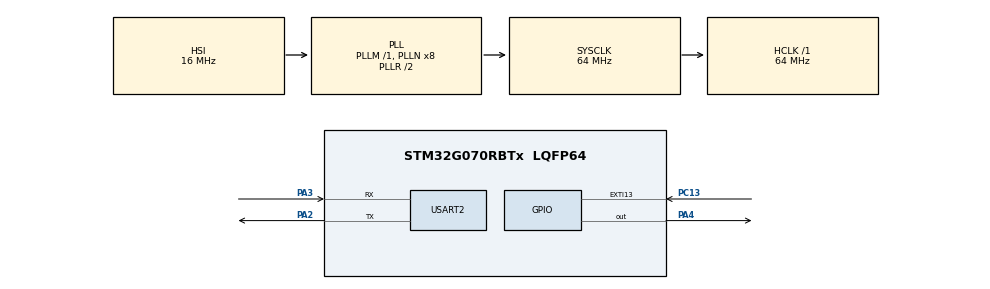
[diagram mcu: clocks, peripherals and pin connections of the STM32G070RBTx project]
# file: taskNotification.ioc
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FREERTOS.Tasks01=defaultTask,0,128,StartDefaultTask,Default,NULL,Dynamic,NULL,NULL;notifyTask,1,128,StartnotifyTask,Default,NULL,Dynamic,NULL,NULL
FREERTOS.configUSE_NEWLIB_REENTRANT=1
Mcu.Family=STM32G0
Mcu.Name=STM32G070RBTx
Mcu.Package=LQFP64
NVIC.EXTI4_15_IRQn=true\:3\:0\:false\:false\:true\:true\:true\:true\:true
NVIC.TIM1_BRK_UP_TRG_COM_IRQn=true\:3\:0\:false\:false\:true\:false\:false\:true\:true
NVIC.TimeBase=TIM1_BRK_UP_TRG_COM_IRQn
NVIC.TimeBaseIP=TIM1
PA13.GPIO_Label=TMS
PA13.Mode=Serial_Wire
PA13.Signal=SYS_SWDIO
PA14-BOOT0.GPIO_Label=TCK
PA14-BOOT0.Mode=Serial_Wire
PA14-BOOT0.Signal=SYS_SWCLK
PA2.GPIO_PuPd=GPIO_PULLUP
PA2.Mode=Asynchronous
PA2.Signal=USART2_TX
PA3.GPIO_PuPd=GPIO_PULLUP
PA3.Mode=Asynchronous
PA3.Signal=USART2_RX
PA4.GPIO_PuPd=GPIO_PULLUP
PA4.Signal=GPIO_Output
PC13.Signal=GPXTI13
PC14-OSC32_IN\ (PC14).Mode=LSE-External-Oscillator
PC14-OSC32_IN\ (PC14).Signal=RCC_OSC32_IN
PC15-OSC32_OUT\ (PC15).Mode=LSE-External-Oscillator
PC15-OSC32_OUT\ (PC15).Signal=RCC_OSC32_OUT
PF0-OSC_IN\ (PF0).GPIO_Label=MCO
PF0-OSC_IN\ (PF0).Mode=HSE-External-Oscillator
PF0-OSC_IN\ (PF0).Signal=RCC_OSC_IN
PF1-OSC_OUT\ (PF1).Mode=HSE-External-Oscillator
PF1-OSC_OUT\ (PF1).Signal=RCC_OSC_OUT
ProjectManager.HeapSize=0x200
ProjectManager.StackSize=0x400
ProjectManager.TargetToolchain=STM32CubeIDE
RCC.ADCFreq_Value=64000000
RCC.AHBFreq_Value=64000000
RCC.CortexFreq_Value=64000000
RCC.EXTERNAL_CLOCK_VALUE=12288000
RCC.HCLKFreq_Value=64000000
RCC.HSE_VALUE=8000000
RCC.HSI_VALUE=16000000
RCC.SYSCLKFreq_VALUE=64000000
RCC.SYSCLKSource=RCC_SYSCLKSOURCE_PLLCLK
RCC.VCOOutputFreq_Value=128000000
USART2.VirtualMode-Asynchronous=VM_ASYNC
USART2.WordLength=WORDLENGTH_8B
VP_FREERTOS_VS_CMSIS_V1.Mode=CMSIS_V1
VP_SYS_VS_DBSignals.Mode=DisableDeadBatterySignals
VP_SYS_VS_tim1.Mode=TIM1
board=NUCLEO-G070RB

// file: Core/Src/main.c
/* USER CODE BEGIN Header */
/**
  ******************************************************************************
  * @file           : main.c
  * @brief          : Main program body
  ******************************************************************************
  * @attention
  *
  * Copyright (c) 2024 STMicroelectronics.
  * All rights reserved.
  *
  * This software is licensed under terms that can be found in the LICENSE file
  * in the root directory of this software component.
  * If no LICENSE file comes with this software, it is provided AS-IS.
  *
  ******************************************************************************
  */
/* USER CODE END Header */
#include "main.h"
#include "cmsis_os.h"

/* USER CODE BEGIN Includes */
#include <stdio.h>

/* USER CODE END Includes */

UART_HandleTypeDef huart2;

osThreadId defaultTaskHandle;
osThreadId notifyTaskHandle;

void SystemClock_Config(void);
static void MX_GPIO_Init(void);
static void MX_USART2_UART_Init(void);
void StartDefaultTask(void const * argument);
void StartnotifyTask(void const * argument);

int main(void)
{

  /* MCU Configuration--------------------------------------------------------*/

  /* Reset of all peripherals, Initializes the Flash interface and the Systick. */
  HAL_Init();

  /* Configure the system clock */
  SystemClock_Config();

  /* Initialize all configured peripherals */
  MX_GPIO_Init();
  MX_USART2_UART_Init();

  /* Create the thread(s) */
  /* definition and creation of defaultTask */
  osThreadDef(defaultTask, StartDefaultTask, osPriorityNormal, 0, 128);
  defaultTaskHandle = osThreadCreate(osThread(defaultTask), NULL);

  /* definition and creation of notifyTask */
  osThreadDef(notifyTask, StartnotifyTask, osPriorityAboveNormal, 0, 128);
  notifyTaskHandle = osThreadCreate(osThread(notifyTask), NULL);

  /* Start scheduler */
  osKernelStart();

  /* We should never get here as control is now taken by the scheduler */

  /* Infinite loop */
  while (1)
  {

  }
}

void SystemClock_Config(void)
{
  RCC_OscInitTypeDef RCC_OscInitStruct = {0};
  RCC_ClkInitTypeDef RCC_ClkInitStruct = {0};

  /** Configure the main internal regulator output voltage
  */
  HAL_PWREx_ControlVoltageScaling(PWR_REGULATOR_VOLTAGE_SCALE1);

  /** Initializes the RCC Oscillators according to the specified parameters
  * in the RCC_OscInitTypeDef structure.
  */
  RCC_OscInitStruct.OscillatorType = RCC_OSCILLATORTYPE_HSI;
  RCC_OscInitStruct.HSIState = RCC_HSI_ON;
  RCC_OscInitStruct.HSIDiv = RCC_HSI_DIV1;
  RCC_OscInitStruct.HSICalibrationValue = RCC_HSICALIBRATION_DEFAULT;
  RCC_OscInitStruct.PLL.PLLState = RCC_PLL_ON;
  RCC_OscInitStruct.PLL.PLLSource = RCC_PLLSOURCE_HSI;
  RCC_OscInitStruct.PLL.PLLM = RCC_PLLM_DIV1;
  RCC_OscInitStruct.PLL.PLLN = 8;
  RCC_OscInitStruct.PLL.PLLP = RCC_PLLP_DIV2;
  RCC_OscInitStruct.PLL.PLLR = RCC_PLLR_DIV2;
  if (HAL_RCC_OscConfig(&RCC_OscInitStruct) != HAL_OK)
  {
    Error_Handler();
  }

  /** Initializes the CPU, AHB and APB buses clocks
  */
  RCC_ClkInitStruct.ClockType = RCC_CLOCKTYPE_HCLK|RCC_CLOCKTYPE_SYSCLK
                              |RCC_CLOCKTYPE_PCLK1;
  RCC_ClkInitStruct.SYSCLKSource = RCC_SYSCLKSOURCE_PLLCLK;
  RCC_ClkInitStruct.AHBCLKDivider = RCC_SYSCLK_DIV1;
  RCC_ClkInitStruct.APB1CLKDivider = RCC_HCLK_DIV1;

  if (HAL_RCC_ClockConfig(&RCC_ClkInitStruct, FLASH_LATENCY_2) != HAL_OK)
  {
    Error_Handler();
  }
}

static void MX_USART2_UART_Init(void)
{

  huart2.Instance = USART2;
  huart2.Init.BaudRate = 115200;
  huart2.Init.WordLength = UART_WORDLENGTH_8B;
  huart2.Init.StopBits = UART_STOPBITS_1;
  huart2.Init.Parity = UART_PARITY_NONE;
  huart2.Init.Mode = UART_MODE_TX_RX;
  huart2.Init.HwFlowCtl = UART_HWCONTROL_NONE;
  huart2.Init.OverSampling = UART_OVERSAMPLING_16;
  huart2.Init.OneBitSampling = UART_ONE_BIT_SAMPLE_DISABLE;
  huart2.Init.ClockPrescaler = UART_PRESCALER_DIV1;
  huart2.AdvancedInit.AdvFeatureInit = UART_ADVFEATURE_NO_INIT;
  if (HAL_UART_Init(&huart2) != HAL_OK)
  {
    Error_Handler();
  }
  if (HAL_UARTEx_SetTxFifoThreshold(&huart2, UART_TXFIFO_THRESHOLD_1_8) != HAL_OK)
  {
    Error_Handler();
  }
  if (HAL_UARTEx_SetRxFifoThreshold(&huart2, UART_RXFIFO_THRESHOLD_1_8) != HAL_OK)
  {
    Error_Handler();
  }
  if (HAL_UARTEx_DisableFifoMode(&huart2) != HAL_OK)
  {
    Error_Handler();
  }

}

static void MX_GPIO_Init(void)
{
  GPIO_InitTypeDef GPIO_InitStruct = {0};

  /* GPIO Ports Clock Enable */
  __HAL_RCC_GPIOC_CLK_ENABLE();
  __HAL_RCC_GPIOF_CLK_ENABLE();
  __HAL_RCC_GPIOA_CLK_ENABLE();

  /*Configure GPIO pin Output Level */
  HAL_GPIO_WritePin(GPIOA, GPIO_PIN_4, GPIO_PIN_RESET);

  /*Configure GPIO pin : PC13 */
  GPIO_InitStruct.Pin = GPIO_PIN_13;
  GPIO_InitStruct.Mode = GPIO_MODE_IT_RISING;
  GPIO_InitStruct.Pull = GPIO_NOPULL;
  HAL_GPIO_Init(GPIOC, &GPIO_InitStruct);

  /*Configure GPIO pin : PA4 */
  GPIO_InitStruct.Pin = GPIO_PIN_4;
  GPIO_InitStruct.Mode = GPIO_MODE_OUTPUT_PP;
  GPIO_InitStruct.Pull = GPIO_PULLUP;
  GPIO_InitStruct.Speed = GPIO_SPEED_FREQ_LOW;
  HAL_GPIO_Init(GPIOA, &GPIO_InitStruct);

  /* EXTI interrupt init*/
  HAL_NVIC_SetPriority(EXTI4_15_IRQn, 3, 0);
  HAL_NVIC_EnableIRQ(EXTI4_15_IRQn);

}

/* USER CODE BEGIN 4 */
void HAL_GPIO_EXTI_Rising_Callback(uint16_t GPIO_PIN){
  BaseType_t xHighPrioriyTaskWoken;
  xHighPrioriyTaskWoken = pdFALSE;
	if(GPIO_PIN == GPIO_PIN_13){
		//HAL_GPIO_WritePin(GPIOA,GPIO_PIN_4,GPIO_PIN_SET);
		//uint8_t buf[30] = "button_press \r\n";
		//HAL_UART_Transmit(&huart2,(const uint8_t*)buf,30,10);
    //xSemaphoreGiveFromISR(myBinarySem01Handle,&xHighPrioriyTaskWoken);
		vTaskNotifyGiveFromISR(notifyTaskHandle,&xHighPrioriyTaskWoken);

    portEND_SWITCHING_ISR(xHighPrioriyTaskWoken);
	}
}

/* USER CODE END 4 */

void StartDefaultTask(void const * argument)
{
  for(;;)
  {
    osDelay(1);
  }
}

void StartnotifyTask(void const * argument)
{
  /* USER CODE BEGIN StartnotifyTask */
  /* Infinite loop */
	uint32_t ulEventsToProcess;
	char buf[50]={0};
	static uint8_t count = 0;

  for(;;)
  {

	  ulEventsToProcess = ulTaskNotifyTake(pdTRUE,portMAX_DELAY);
	  if(ulEventsToProcess!=0)
	  {
		  while(ulEventsToProcess>0)
		  {
			  count++;
			  sprintf(buf,"button_press has Calvin %d \r\n", count);
			  HAL_UART_Transmit(&huart2,(const uint8_t*)buf,50,10);
			  HAL_GPIO_TogglePin(GPIOA,GPIO_PIN_4);
			  ulEventsToProcess--;
		  }

	  }

	  //osDelay(1);
  }
  /* USER CODE END StartnotifyTask */
}

void HAL_TIM_PeriodElapsedCallback(TIM_HandleTypeDef *htim)
{
  if (htim->Instance == TIM1) {
    HAL_IncTick();
  }
}

void Error_Handler(void)
{
  __disable_irq();
  while (1)
  {
  }
}
